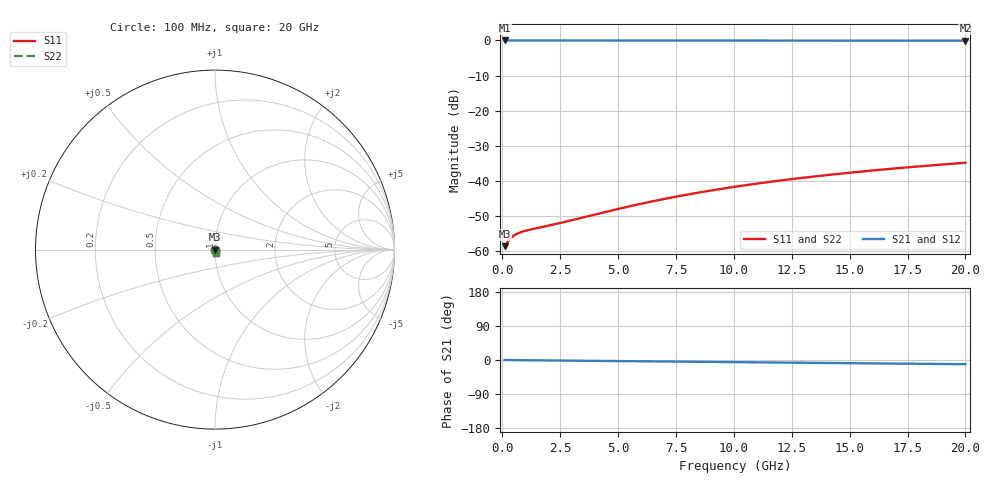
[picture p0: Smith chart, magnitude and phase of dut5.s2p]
! Touchstone file exported from HFSS 2026.1.0
!  File:  C:/ffzhzh/LocalFiles/Ansys_Project_Files/temp_val_BSMRDL_5_1782903125_46784.aedt
!  Generated:  06:53:16 PM Jul  1, 2026
!  Design:  BSMRDL
!  Project:  temp_val_BSMRDL_5_1782903125_46784
! Variables:
!  h_bsmrdl = 3.71um
!  h_ox = 20um
!  h_rdl = 5um
!  h_sub = 80um
!  h_tmrdl = 5um
!  h_tsv = 80um
!  h_via = 3um
!  l_bsmrdl = 191.12um
!  l_sub = 591.12um
!  l_tmrdl = 200um
!  m_sub = 200um
!  pitch = 22.32um
!  r_tsv = 6um
!  s_tmrdl = 10um
!  w_bsmrdl = 19.39um
!  w_sub = 500um
!  w_tmrdl = 12um
!  x_tsv_center1 = 206um
!  x_tsv_center2 = 416.51um
!  x_tsv_center3 = 628.51um
!  x_tsv_center4 = 839.02um
!  x_tsv_center5 = 1051.02um
!  x_tsv_center6 = 1261.53um
# GHz S MA R 50.000000
! Terminal data exported
! Port[1] = BSM_RDL1_1_T1
! Port[2] = BSM_RDL1_1_T2
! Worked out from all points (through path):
!   200 points, 100 MHz to 20 GHz, reference 50 ohm
!   highest |S21| = -0.01 dB at 100 MHz (marker M1); lowest = -0.1 dB at 20 GHz (marker M2)
!   group delay of S21, straight-line fit = 1.53 ps
!   lowest |S11| = -58.6 dB at 100 MHz (marker M3), VSWR 1.00, Z = 50.1 + j0.0158 ohm
!   |S11| at or under -10 dB: start of sweep to end of sweep
!   |S22| runs from -58.6 to -34.8 dB; largest |S21 - S12| = 1.8e-15
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0.1  0.001178 7.7  0.9988 -0.1  0.9988 -0.1  0.001178 7.7
! Gamma 0 0 0 0
! Port Impedance 50 0 50 0
0.3  0.001448 12.4  0.9986 -0.2  0.9986 -0.2  0.001448 12.4
0.4  0.001572 11.1  0.9985 -0.3  0.9985 -0.3  0.001572 11.1
0.5  0.001672 9.1  0.9983 -0.3  0.9983 -0.3  0.001672 9.1
0.6  0.001751 6.8  0.9983 -0.4  0.9983 -0.4  0.001751 6.8
0.8  0.001867 2.3  0.9981 -0.5  0.9981 -0.5  0.001867 2.3
1.1  0.00199 -3.5  0.998 -0.7  0.998 -0.7  0.00199 -3.5
2.3  0.002432 -19.5  0.9977 -1.3  0.9977 -1.3  0.002432 -19.5
3.5  0.003027 -30.0  0.9973 -2.0  0.9973 -2.0  0.003027 -30.0
5.3  0.004205 -40.8  0.9967 -3.0  0.9967 -3.0  0.004205 -40.8
6.1  0.004813 -44.4  0.9964 -3.5  0.9964 -3.5  0.004813 -44.4
6.8  0.005377 -47.3  0.9961 -3.9  0.9961 -3.9  0.005377 -47.3
7.6  0.006052 -50.2  0.9958 -4.3  0.9958 -4.3  0.006053 -50.2
8.4  0.006754 -52.9  0.9955 -4.8  0.9955 -4.8  0.006755 -52.9
9.2  0.007478 -55.3  0.9952 -5.2  0.9952 -5.2  0.007478 -55.3
10.1  0.008312 -57.8  0.9949 -5.7  0.9949 -5.7  0.008312 -57.8
11.7  0.009836 -61.7  0.9943 -6.6  0.9943 -6.6  0.009836 -61.7
13.4  0.0115 -65.3  0.9938 -7.5  0.9938 -7.5  0.0115 -65.3
15  0.01308 -68.3  0.9934 -8.4  0.9934 -8.4  0.01308 -68.3
16.7  0.01479 -71.2  0.9929 -9.3  0.9929 -9.3  0.01479 -71.2
18.3  0.01641 -73.6  0.9925 -10.2  0.9925 -10.2  0.01641 -73.6
20  0.01814 -75.9  0.9921 -11.1  0.9921 -11.1  0.01814 -75.9
